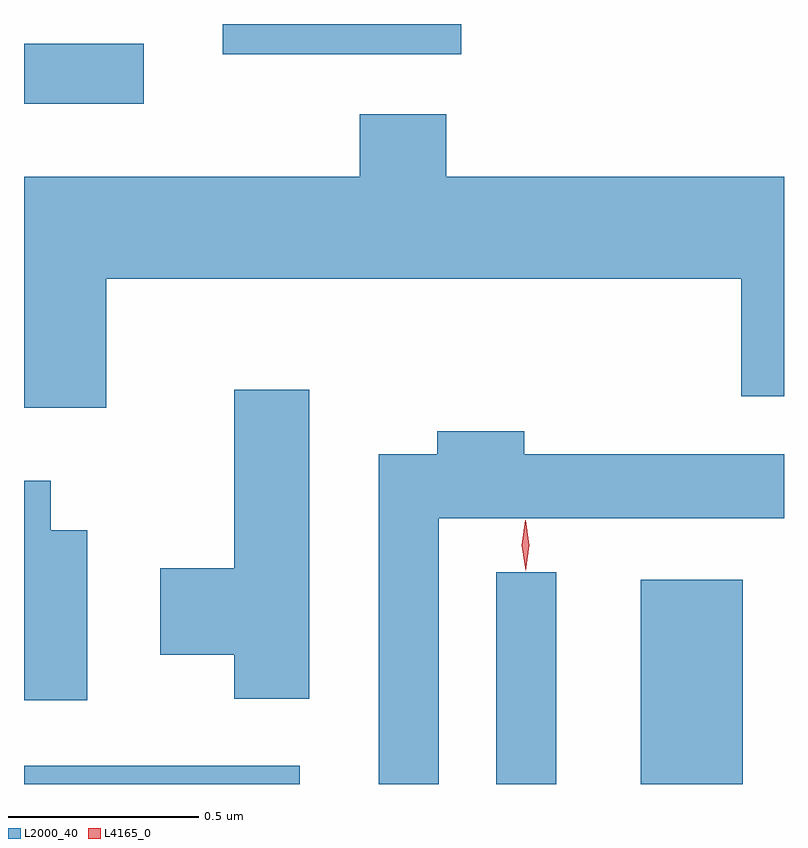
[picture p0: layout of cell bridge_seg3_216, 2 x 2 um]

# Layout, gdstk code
import gdstk
lib = gdstk.Library(unit=1e-6, precision=1e-09)
def R(c, l, rs):  # rectangles x0, y0, x1, y1
    for r in rs: c.add(gdstk.rectangle(r[:2], r[2:], *l))
def P(c, l, *ps):  # polygons
    for p in ps: c.add(gdstk.Polygon(p, *l))
L2000_40 = (2000, 40)
L4165_0 = (4165, 0)

bridge_seg3_216 = lib.new_cell('bridge_seg3_216')
R(bridge_seg3_216, L2000_40, [(911.083,1177.966,911.809,1178.014), (912.326,1177.966,912.484,1178.523), (912.706,1177.966,912.974,1178.504), (911.083,1179.756,911.398,1179.914), (911.606,1179.886,912.234,1179.966)])
P(bridge_seg3_216, L2000_40, [(911.299,1179.296),(912.971,1179.296),(912.971,1178.986),(913.083,1178.986),(913.083,1179.564),(912.194,1179.564),(912.194,1179.729),(911.966,1179.729),(911.966,1179.564),(911.083,1179.564),(911.083,1178.956),(911.299,1178.956)],
  [(911.834,1179.004),(911.636,1179.004),(911.636,1178.534),(911.441,1178.534),(911.441,1178.306),(911.636,1178.306),(911.636,1178.191),(911.834,1178.191)],
  [(912.174,1178.666),(913.083,1178.666),(913.083,1178.834),(912.399,1178.834),(912.399,1178.894),(912.171,1178.894),(912.171,1178.834),(912.016,1178.834),(912.016,1177.966),(912.174,1177.966)],
  [(911.249,1178.634),(911.154,1178.634),(911.154,1178.764),(911.083,1178.764),(911.083,1178.186),(911.249,1178.186)])
P(bridge_seg3_216, L4165_0, [(912.403,1178.527),(912.403,1178.527),(912.393,1178.594),(912.402,1178.66),(912.403,1178.66),(912.403,1178.66),(912.413,1178.594),(912.404,1178.527)])

lib.write_gds('bridge_seg3_216.gds')
